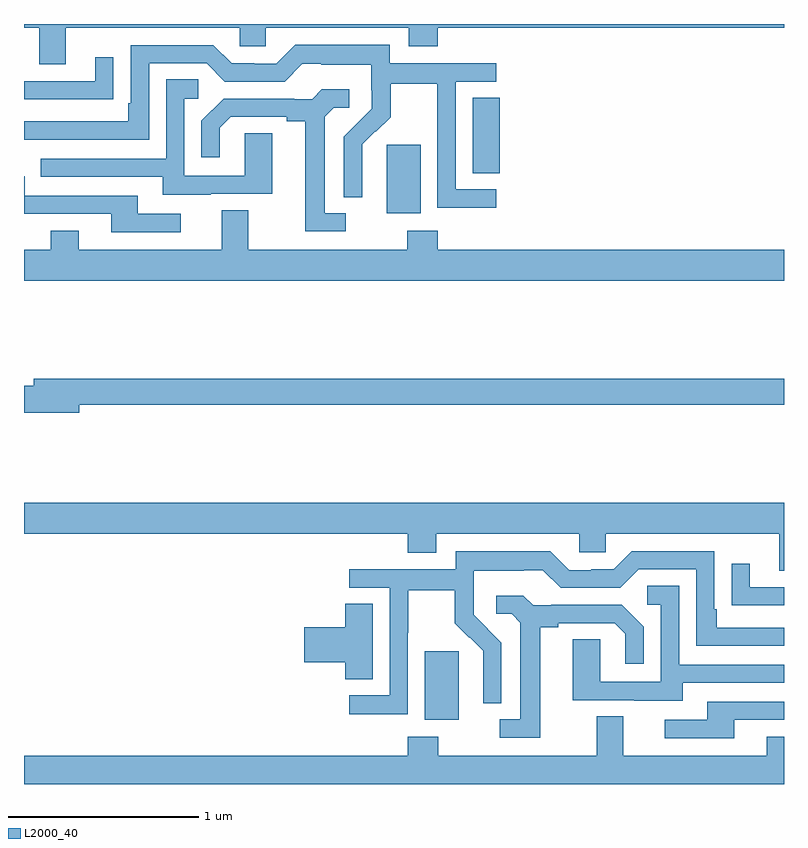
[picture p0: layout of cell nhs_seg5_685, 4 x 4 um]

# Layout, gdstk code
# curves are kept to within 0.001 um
import gdstk
lib = gdstk.Library(unit=1e-6, precision=1e-09)
def R(c, l, rs):  # rectangles x0, y0, x1, y1
    for r in rs: c.add(gdstk.rectangle(r[:2], r[2:], *l))
def P(c, l, *ps):  # polygons
    for p in ps: c.add(gdstk.Polygon(p, *l))
L2000_40 = (2000, 40)

nhs_seg5_685 = lib.new_cell('nhs_seg5_685')
R(nhs_seg5_685, L2000_40, [(157.109,833.138,157.288,833.499), (156.908,835.802,157.087,836.163), (157.361,836.014,157.505,836.411)])
P(nhs_seg5_685, L2000_40, [(155,836.78),(155.081,836.78),(155.081,836.586),(155.221,836.586),(155.221,836.78),(156.135,836.78),(156.135,836.682),(156.273,836.682),(156.273,836.78),(157.025,836.78),(157.025,836.681),(157.178,836.681),(157.178,836.78),(159,836.78),(159,836.799),(155,836.799)],
  [(157.486,835.929),(157.272,835.929),(157.272,836.496),(157.486,836.496),(157.486,836.592),(156.924,836.592),(156.924,836.689),(156.427,836.689),(156.327,836.589),(156.212,836.589),(156.212,836.592),(156.093,836.592),(155.997,836.688),(155.562,836.688),(155.562,836.383),(155.549,836.383),(155.549,836.286),(155,836.286),(155,836.19),(155.658,836.19),(155.658,836.592),(155.961,836.592),(156.057,836.496),(156.372,836.496),(156.465,836.589),(156.565,836.589),(156.565,836.585),(156.828,836.585),(156.828,836.451),(156.83,836.451),(156.83,836.354),(156.684,836.206),(156.684,835.888),(156.78,835.888),(156.779,836.165),(156.849,836.235),(156.852,836.232),(156.929,836.309),(156.929,836.484),(157.174,836.484),(157.174,836.26),(157.176,836.26),(157.176,835.831),(157.486,835.831)],
  [(155.369,836.404),(155.471,836.404),(155.471,836.623),(155.375,836.623),(155.375,836.499),(155,836.499),(155,836.403),(155.369,836.403)],
  [(155.983,835.905),(156.307,835.905),(156.307,836.225),(156.162,836.225),(156.162,836.001),(155.844,836.001),(155.844,836.406),(155.917,836.406),(155.917,836.507),(155.748,836.507),(155.748,836.091),(155.089,836.091),(155.089,835.995),(155.729,835.995),(155.729,835.901),(155.983,835.901)],
  [(156.694,835.803),(156.583,835.803),(156.583,836.311),(156.63,836.358),(156.712,836.358),(156.712,836.455),(156.568,836.455),(156.516,836.403),(156.422,836.403),(156.422,836.406),(156.05,836.406),(155.934,836.29),(155.934,836.097),(156.031,836.097),(156.031,836.253),(156.088,836.31),(156.383,836.31),(156.383,836.288),(156.479,836.288),(156.479,835.707),(156.694,835.707)],
  [(155.824,835.8),(155.599,835.8),(155.599,835.896),(155.004,835.896),(155.004,835.999),(155,835.999),(155,835.8),(155.459,835.8),(155.459,835.704),(155.824,835.704)],
  [(159,835.612),(157.178,835.612),(157.178,835.711),(157.018,835.711),(157.018,835.612),(156.181,835.612),(156.181,835.82),(156.041,835.82),(156.041,835.612),(155.287,835.612),(155.287,835.711),(155.14,835.711),(155.14,835.612),(155,835.612),(155,835.448),(159,835.448)],
  [(155.29,834.796),(159,834.796),(159,834.932),(155.051,834.932),(155.051,834.896),(155,834.896),(155,834.754),(155.29,834.754)],
  [(159,834.28),(155,834.28),(155,834.116),(157.019,834.116),(157.019,834.017),(157.171,834.017),(157.171,834.116),(157.923,834.116),(157.923,834.018),(158.061,834.018),(158.061,834.116),(158.975,834.116),(158.975,833.922),(159,833.922)],
  [(157.02,833.596),(157.023,833.596),(157.023,833.82),(157.267,833.82),(157.267,833.645),(157.344,833.568),(157.347,833.571),(157.418,833.501),(157.418,833.378),(157.416,833.378),(157.416,833.224),(157.512,833.224),(157.512,833.542),(157.366,833.69),(157.366,833.787),(157.368,833.787),(157.368,833.921),(157.631,833.921),(157.631,833.925),(157.731,833.925),(157.824,833.832),(158.139,833.832),(158.235,833.928),(158.538,833.928),(158.538,833.526),(159,833.526),(159,833.622),(158.647,833.622),(158.647,833.719),(158.634,833.719),(158.634,834.024),(158.199,834.024),(158.103,833.928),(157.985,833.928),(157.985,833.925),(157.869,833.925),(157.769,834.025),(157.272,834.025),(157.272,833.928),(156.711,833.928),(156.711,833.832),(156.924,833.832),(156.924,833.265),(156.711,833.265),(156.711,833.167),(157.02,833.167)],
  [(159,833.835),(158.821,833.835),(158.821,833.959),(158.725,833.959),(158.725,833.74),(158.827,833.74),(158.827,833.739),(159,833.739)],
  [(158.467,833.331),(159,833.331),(159,833.427),(158.448,833.427),(158.448,833.843),(158.28,833.843),(158.28,833.742),(158.352,833.742),(158.352,833.337),(158.034,833.337),(158.034,833.561),(157.889,833.561),(157.889,833.241),(158.213,833.241),(158.213,833.237),(158.467,833.237)],
  [(157.717,833.624),(157.813,833.624),(157.813,833.646),(158.108,833.646),(158.165,833.589),(158.165,833.433),(158.262,833.433),(158.262,833.626),(158.146,833.742),(157.774,833.742),(157.774,833.739),(157.68,833.739),(157.628,833.791),(157.485,833.791),(157.485,833.694),(157.566,833.694),(157.613,833.647),(157.613,833.139),(157.503,833.139),(157.503,833.043),(157.717,833.043)],
  [(156.835,833.747),(156.692,833.747),(156.692,833.624),(156.474,833.624),(156.474,833.441),(156.692,833.441),(156.692,833.35),(156.835,833.35)],
  [(158.737,833.136),(159,833.136),(159,833.232),(158.597,833.232),(158.597,833.136),(158.373,833.136),(158.373,833.04),(158.737,833.04)],
  [(159,833.047),(158.909,833.047),(158.909,832.948),(158.155,832.948),(158.155,833.156),(158.015,833.156),(158.015,832.948),(157.179,832.948),(157.179,833.047),(157.019,833.047),(157.019,832.948),(155,832.948),(155,832.799),(159,832.799)])

lib.write_gds('nhs_seg5_685.gds')
